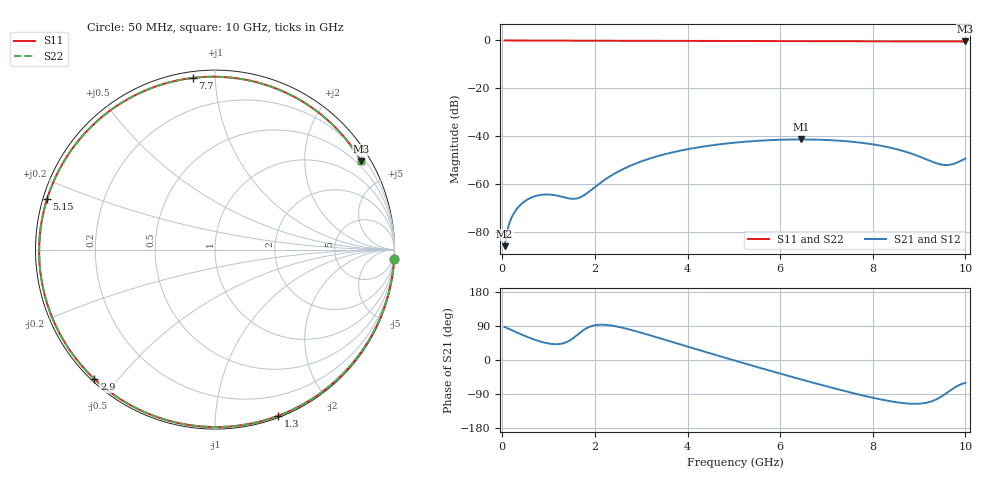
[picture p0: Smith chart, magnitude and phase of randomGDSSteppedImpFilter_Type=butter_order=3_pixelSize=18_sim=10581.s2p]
! freq	dB(S11)	phase(S11)	dB(S12)	phase(S12)
!  dB(S21)	phase(S21)	dB(S22)	phase(S22)
!S-par simulation data
#  GHz  S  DB  R 50
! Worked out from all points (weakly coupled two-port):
!   200 points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, 50 MHz to 10 GHz, reference 50 ohm
!   highest |S21| = -41.25 dB at 6.45 GHz (marker M1); lowest = -85.7 dB at 50 MHz (marker M2)
!   lowest |S11| = -0.4 dB at 10 GHz (marker M3), VSWR 39.89, Z = 17.2 + j177 ohm
!   |S11| at or under -10 dB: nowhere
!   |S22| runs from -0.4 to 0.0 dB; largest |S21 - S12| = 0
!   S11 on the Smith chart (normalised r, x): 50 MHz: 0, -40; 1.3 GHz: 0.01, -1.45; 2.9 GHz: 0.01, -0.43; 5.15 GHz: 0.01, +0.15; 7.7 GHz: 0.03, +0.88; 10 GHz: 0.34, +3.55
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0.05  -0.00 -2.9  -85.72 87.2  -85.72 87.2  -0.00 -2.9
0.1  -0.01 -5.7  -79.73 84.4  -79.73 84.4  -0.01 -5.7
0.2  -0.02 -11.4  -73.85 78.8  -73.85 78.8  -0.02 -11.4
0.3  -0.02 -17.0  -70.55 73.4  -70.55 73.4  -0.02 -17.0
0.55  -0.04 -30.8  -66.21 60.4  -66.21 60.4  -0.04 -30.8
0.9  -0.06 -49.4  -64.22 46.1  -64.22 46.1  -0.06 -49.4
1.3  -0.08 -69.3  -65.18 43.6  -65.18 43.6  -0.08 -69.3
1.55  -0.09 -80.9  -66.00 59.4  -66.00 59.4  -0.09 -80.9
1.75  -0.10 -89.7  -64.70 78.6  -64.70 78.6  -0.10 -89.7
2.35  -0.12 -113.7  -56.33 91.1  -56.33 91.1  -0.12 -113.7
2.9  -0.13 -133.0  -51.13 75.4  -51.13 75.4  -0.13 -133.0
3.4  -0.14 -148.8  -47.97 57.6  -47.97 57.6  -0.14 -148.8
4.2  -0.17 -171.8  -44.64 28.1  -44.64 28.1  -0.17 -171.8
5.05  -0.20 165.7  -42.52 -2.6  -42.52 -2.6  -0.20 165.7
5.15  -0.20 163.2  -42.35 -6.2  -42.35 -6.2  -0.20 163.1
6.45  -0.26 130.1  -41.25 -51.2  -41.25 -51.2  -0.26 130.0
6.7  -0.27 123.6  -41.30 -59.5  -41.30 -59.5  -0.27 123.6
7.7  -0.31 97.3  -42.51 -91.1  -42.51 -91.1  -0.31 97.2
8.35  -0.34 79.4  -44.55 -108.2  -44.55 -108.2  -0.34 79.4
9.5  -0.39 46.2  -51.79 -94.9  -51.79 -94.9  -0.39 46.1
9.7  -0.41 40.2  -51.66 -78.1  -51.66 -78.1  -0.41 40.1
10  -0.44 31.2  -49.18 -60.2  -49.18 -60.2  -0.44 31.1
